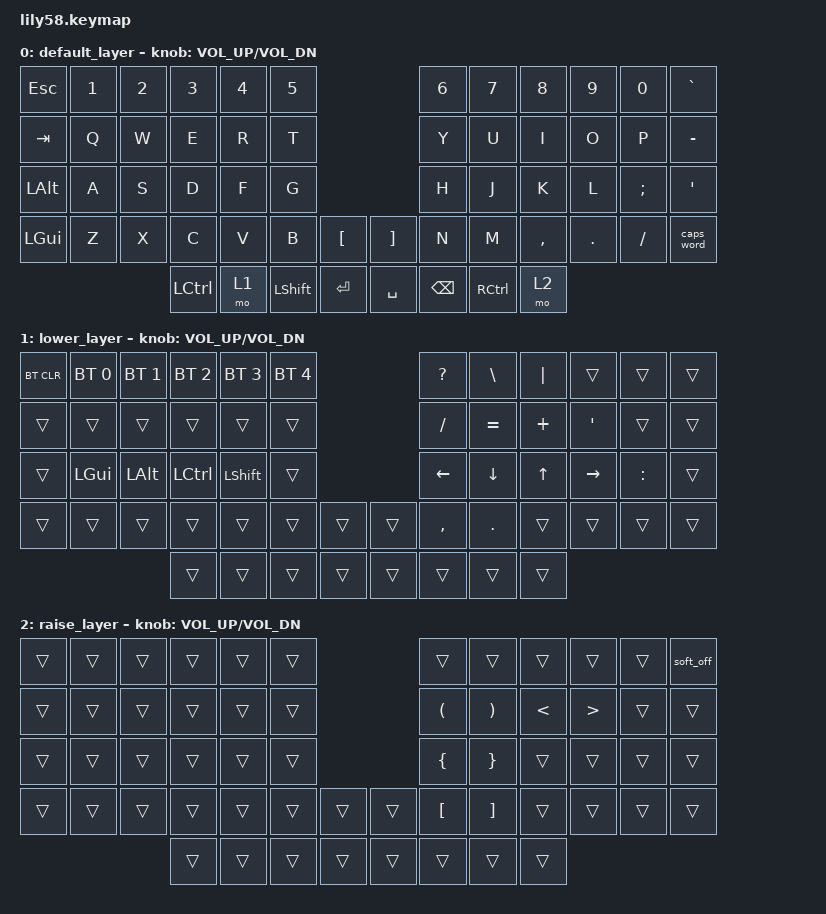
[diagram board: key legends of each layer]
/*
 * Copyright (c) 2020 The ZMK Contributors
 *
 * SPDX-License-Identifier: MIT
 */

#include <behaviors.dtsi>
#include <dt-bindings/zmk/bt.h>
#include <dt-bindings/zmk/keys.h>

/ {
    keymap {
        compatible = "zmk,keymap";

        default_layer {
            // ------------------------------------------------------------------------------------------------------------
            // |  ESC  |  1  |  2  |  3   |  4   |  5   |                   |  6   |  7    |  8    |  9   |   0   |   `   |
            // |  TAB  |  Q  |  W  |  E   |  R   |  T   |                   |  Y   |  U    |  I    |  O   |   P   |   -   |
            // |  CTRL |  A  |  S  |  D   |  F   |  G   |                   |  H   |  J    |  K    |  L   |   ;   |   '   |
            // | SHIFT |  Z  |  X  |  C   |  V   |  B   |   "["  |  |  "]"  |  N   |  M    |  ,    |  .   |   /   | SHIFT |
            //                     | ALT  | GUI  | LOWER|  ENTER |  | SPACE | RAISE| BSPC  | GUI   |

            bindings = <
&kp ESC       &kp N1  &kp N2  &kp N3            &kp N4  &kp N5                                 &kp N6         &kp N7             &kp N8     &kp N9   &kp N0    &kp GRAVE
&kp TAB       &kp Q   &kp W   &kp E             &kp R   &kp T                                  &kp Y          &kp U              &kp I      &kp O    &kp P     &kp MINUS
&kp LEFT_ALT  &kp A   &kp S   &kp D             &kp F   &kp G                                  &kp H          &kp J              &kp K      &kp L    &kp SEMI  &kp SQT
&kp LEFT_GUI  &kp Z   &kp X   &kp C             &kp V   &kp B           &kp LBKT    &kp RBKT   &kp N          &kp M              &kp COMMA  &kp DOT  &kp FSLH  &caps_word
                              &kp LEFT_CONTROL  &mo 1   &kp LEFT_SHIFT  &kp RET     &kp SPACE  &kp BACKSPACE  &kp RIGHT_CONTROL  &mo 2
            >;

            sensor-bindings = <&inc_dec_kp C_VOL_UP C_VOL_DN>;
        };

        lower_layer {
            // ------------------------------------------------------------------------------------------------------------
            // | BTCLR | BT1 | BT2 |  BT3 |  BT4 |  BT5 |                   |      |       |       |      |       |       |
            // |  F1   |  F2 |  F3 |  F4  |  F5  |  F6  |                   |  F7  |  F8   |  F9   |  F10 |  F11  |  F12  |
            // |   `   |  !  |  @  |  #   |  $   |  %   |                   |  ^   |  &    |  *    |  (   |   )   |   ~   |
            // |       |     |     |      |      |      |        |  |       |      |  _    |  +    |  {   |   }   |  "|"  |
            //                     |      |      |      |        |  |       |      |       |       |

            bindings = <
&bt BT_CLR  &bt BT_SEL 0  &bt BT_SEL 1  &bt BT_SEL 2      &bt BT_SEL 3    &bt BT_SEL 4                    &kp QUESTION  &kp BACKSLASH   &kp PIPE      &trans            &trans     &trans
&trans      &trans        &trans        &trans            &trans          &trans                          &kp SLASH     &kp EQUAL       &kp PLUS      &kp SINGLE_QUOTE  &trans     &trans
&trans      &kp LEFT_GUI  &kp LEFT_ALT  &kp LEFT_CONTROL  &kp LEFT_SHIFT  &trans                          &kp LEFT      &kp DOWN_ARROW  &kp UP_ARROW  &kp RIGHT         &kp COLON  &trans
&trans      &trans        &trans        &trans            &trans          &trans        &trans    &trans  &kp COMMA     &kp PERIOD      &trans        &trans            &trans     &trans
                                        &trans            &trans          &trans        &trans    &trans  &trans        &trans          &trans
            >;

            sensor-bindings = <&inc_dec_kp C_VOL_UP C_VOL_DN>;
        };

        raise_layer {
            // ------------------------------------------------------------------------------------------------------------
            // |       |     |     |      |      |      |                   |      |       |       |      |       |       |
            // |   `   |  1  |  2  |  3   |  4   |  5   |                   |  6   |   7   |   8   |  9   |   0   |       |
            // |   F1  |  F2 |  F3 |  F4  |  F5  |  F6  |                   |      |   <-  |   v   |  ^   |  ->   |       |
            // |   F7  |  F8 |  F9 |  F10 |  F11 |  F12 |        |  |       |  +   |   -   |   =   |  [   |   ]   |   \   |
            //                     |      |      |      |        |  |       |      |       |       |

            bindings = <
&trans  &trans  &trans  &trans  &trans  &trans                    &trans                &trans                 &trans         &trans            &trans  &soft_off
&trans  &trans  &trans  &trans  &trans  &trans                    &kp LEFT_PARENTHESIS  &kp RIGHT_PARENTHESIS  &kp LESS_THAN  &kp GREATER_THAN  &trans  &trans
&trans  &trans  &trans  &trans  &trans  &trans                    &kp LEFT_BRACE        &kp RIGHT_BRACE        &trans         &trans            &trans  &trans
&trans  &trans  &trans  &trans  &trans  &trans  &trans    &trans  &kp LEFT_BRACKET      &kp RIGHT_BRACKET      &trans         &trans            &trans  &trans
                        &trans  &trans  &trans  &trans    &trans  &trans                &trans                 &trans
            >;

            sensor-bindings = <&inc_dec_kp C_VOL_UP C_VOL_DN>;
        };
    };
};
